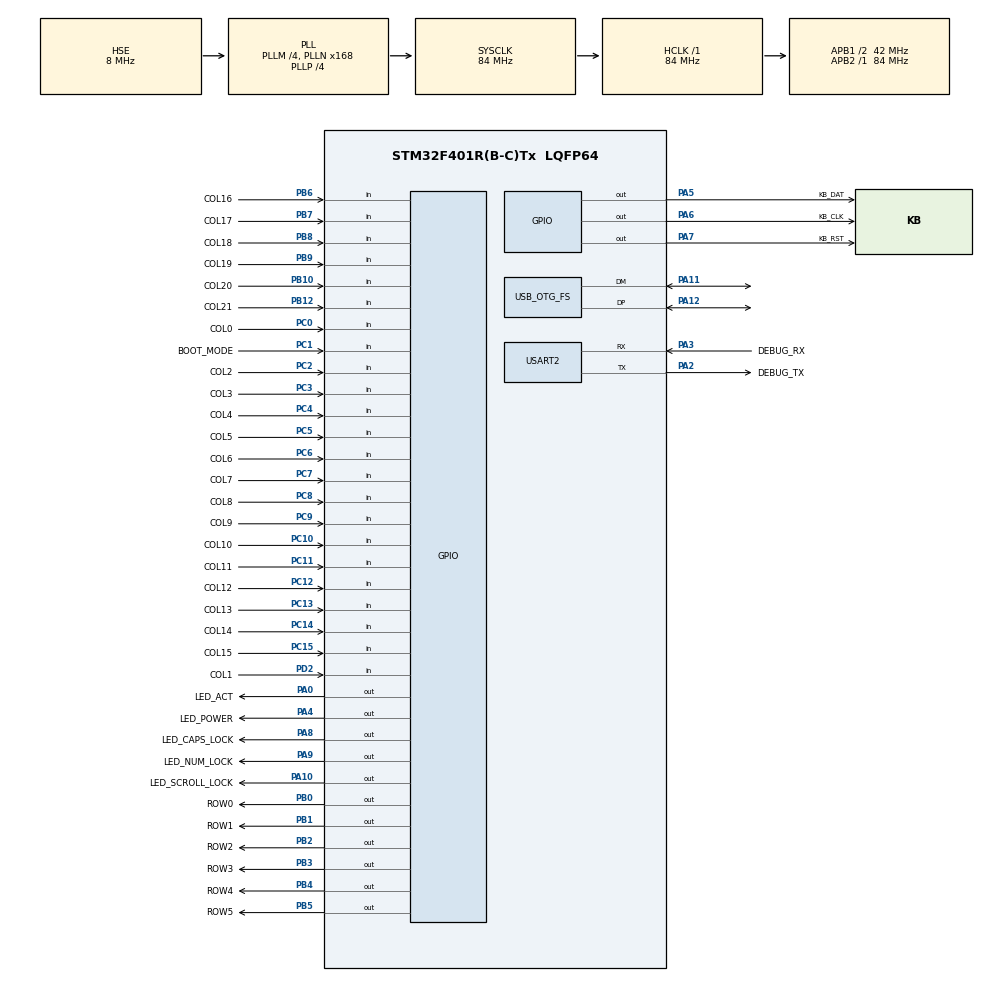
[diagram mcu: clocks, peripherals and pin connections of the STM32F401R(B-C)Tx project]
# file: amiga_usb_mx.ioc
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FREERTOS.Queues01=logQueue,16,uint16_t,0,Dynamic,NULL,NULL
FREERTOS.Tasks01=mainTask,24,128,StartMainTask,Default,NULL,Dynamic,NULL,NULL;logTask,8,128,StartLogTask,Default,NULL,Dynamic,NULL,NULL
Mcu.Family=STM32F4
Mcu.Name=STM32F401R(B-C)Tx
Mcu.Package=LQFP64
NVIC.OTG_FS_IRQn=true\:5\:0\:false\:false\:true\:true\:false\:true\:true
NVIC.PriorityGroup=NVIC_PRIORITYGROUP_4
NVIC.TIM1_UP_TIM10_IRQn=true\:15\:0\:false\:false\:true\:false\:false\:true\:true
NVIC.TimeBase=TIM1_UP_TIM10_IRQn
NVIC.TimeBaseIP=TIM1
PA0-WKUP.GPIO_Label=LED_ACT
PA0-WKUP.GPIO_ModeDefaultOutputPP=GPIO_MODE_OUTPUT_PP
PA0-WKUP.GPIO_PuPd=GPIO_PULLUP
PA0-WKUP.Signal=GPIO_Output
PA10.GPIO_Label=LED_SCROLL_LOCK
PA10.GPIO_PuPd=GPIO_PULLUP
PA10.Signal=GPIO_Output
PA11.Mode=Device_Only
PA11.Signal=USB_OTG_FS_DM
PA12.Mode=Device_Only
PA12.Signal=USB_OTG_FS_DP
PA13.Signal=SYS_JTMS-SWDIO
PA14.Signal=SYS_JTCK-SWCLK
PA2.GPIO_Label=DEBUG_TX
PA2.Mode=Asynchronous
PA2.Signal=USART2_TX
PA3.GPIO_Label=DEBUG_RX
PA3.Mode=Asynchronous
PA3.Signal=USART2_RX
PA4.GPIO_Label=LED_POWER
PA4.GPIO_PuPd=GPIO_PULLUP
PA4.Signal=GPIO_Output
PA5.GPIO_Label=KB_DAT
PA5.GPIO_PuPd=GPIO_PULLUP
PA5.Signal=GPIO_Output
PA6.GPIO_Label=KB_CLK
PA6.GPIO_PuPd=GPIO_PULLUP
PA6.Signal=GPIO_Output
PA7.GPIO_Label=KB_RST
PA7.GPIO_PuPd=GPIO_PULLUP
PA7.Signal=GPIO_Output
PA8.GPIO_Label=LED_CAPS_LOCK
PA8.GPIO_PuPd=GPIO_PULLUP
PA8.PinState=GPIO_PIN_RESET
PA8.Signal=GPIO_Output
PA9.GPIO_Label=LED_NUM_LOCK
PA9.GPIO_PuPd=GPIO_PULLUP
PA9.Signal=GPIO_Output
PB0.GPIO_Label=ROW0
PB0.Signal=GPIO_Output
PB1.GPIO_Label=ROW1
PB1.Signal=GPIO_Output
PB10.GPIO_Label=COL20
PB10.GPIO_PuPd=GPIO_PULLUP
PB10.Signal=GPIO_Input
PB12.GPIO_Label=COL21
PB12.GPIO_PuPd=GPIO_PULLUP
PB12.Signal=GPIO_Input
PB14.Signal=TIM1_CH2N
PB2.GPIO_Label=ROW2
PB2.Signal=GPIO_Output
PB3.GPIO_Label=ROW3
PB3.Signal=GPIO_Output
PB4.GPIO_Label=ROW4
PB4.Signal=GPIO_Output
PB5.GPIO_Label=ROW5
PB5.Signal=GPIO_Output
PB6.GPIO_Label=COL16
PB6.GPIO_PuPd=GPIO_PULLUP
PB6.Signal=GPIO_Input
PB7.GPIO_Label=COL17
PB7.GPIO_PuPd=GPIO_PULLUP
PB7.Signal=GPIO_Input
PB8.GPIO_Label=COL18
PB8.GPIO_PuPd=GPIO_PULLUP
PB8.Signal=GPIO_Input
PB9.GPIO_Label=COL19
PB9.GPIO_PuPd=GPIO_PULLUP
PB9.Signal=GPIO_Input
PC0.GPIO_Label=COL0
PC0.GPIO_PuPd=GPIO_PULLUP
PC0.Signal=GPIO_Input
PC1.GPIO_Label=BOOT_MODE
PC1.GPIO_PuPd=GPIO_PULLUP
PC1.Signal=GPIO_Input
PC10.GPIO_Label=COL10
PC10.GPIO_PuPd=GPIO_PULLUP
PC10.Signal=GPIO_Input
PC11.GPIO_Label=COL11
PC11.GPIO_PuPd=GPIO_PULLUP
PC11.Signal=GPIO_Input
PC12.GPIO_Label=COL12
PC12.GPIO_PuPd=GPIO_PULLUP
PC12.Signal=GPIO_Input
PC13-ANTI_TAMP.GPIO_Label=COL13
PC13-ANTI_TAMP.GPIO_PuPd=GPIO_PULLUP
PC13-ANTI_TAMP.Signal=GPIO_Input
PC14-OSC32_IN.GPIO_Label=COL14
PC14-OSC32_IN.GPIO_PuPd=GPIO_PULLUP
PC14-OSC32_IN.Signal=GPIO_Input
PC15-OSC32_OUT.GPIO_Label=COL15
PC15-OSC32_OUT.GPIO_PuPd=GPIO_PULLUP
PC15-OSC32_OUT.Signal=GPIO_Input
PC2.GPIO_Label=COL2
PC2.GPIO_PuPd=GPIO_PULLUP
PC2.Signal=GPIO_Input
PC3.GPIO_Label=COL3
PC3.GPIO_PuPd=GPIO_PULLUP
PC3.Signal=GPIO_Input
PC4.GPIO_Label=COL4
PC4.GPIO_PuPd=GPIO_PULLUP
PC4.Signal=GPIO_Input
PC5.GPIO_Label=COL5
PC5.GPIO_PuPd=GPIO_PULLUP
PC5.Signal=GPIO_Input
PC6.GPIO_Label=COL6
PC6.GPIO_PuPd=GPIO_PULLUP
PC6.Signal=GPIO_Input
PC7.GPIO_Label=COL7
PC7.GPIO_PuPd=GPIO_PULLUP
PC7.Signal=GPIO_Input
PC8.GPIO_Label=COL8
PC8.GPIO_PuPd=GPIO_PULLUP
PC8.Signal=GPIO_Input
PC9.GPIO_Label=COL9
PC9.GPIO_PuPd=GPIO_PULLUP
PC9.Signal=GPIO_Input
PD2.GPIO_Label=COL1
PD2.GPIO_PuPd=GPIO_PULLUP
PD2.Signal=GPIO_Input
PH0\ -\ OSC_IN.Mode=HSE-External-Oscillator
PH0\ -\ OSC_IN.Signal=RCC_OSC_IN
PH1\ -\ OSC_OUT.Mode=HSE-External-Oscillator
PH1\ -\ OSC_OUT.Signal=RCC_OSC_OUT
ProjectManager.HeapSize=0x200
ProjectManager.StackSize=0x400
ProjectManager.TargetToolchain=Makefile
RCC.48MHZClocksFreq_Value=48000000
RCC.AHBFreq_Value=84000000
RCC.APB1CLKDivider=RCC_HCLK_DIV2
RCC.APB1Freq_Value=42000000
RCC.APB1TimFreq_Value=84000000
RCC.APB2Freq_Value=84000000
RCC.APB2TimFreq_Value=84000000
RCC.CortexFreq_Value=84000000
RCC.HCLKFreq_Value=84000000
RCC.HSE_VALUE=8000000
RCC.HSI_VALUE=16000000
RCC.LSE_VALUE=32768
RCC.PLLM=4
RCC.PLLN=168
RCC.PLLP=RCC_PLLP_DIV4
RCC.PLLQ=7
RCC.SYSCLKFreq_VALUE=84000000
RCC.SYSCLKSource=RCC_SYSCLKSOURCE_PLLCLK
RCC.VCOOutputFreq_Value=336000000
USART2.VirtualMode=VM_ASYNC
USB_DEVICE.CLASS_NAME_FS=HID
USB_DEVICE.VirtualMode=Hid
USB_DEVICE.VirtualModeFS=Hid_FS
USB_OTG_FS.VirtualMode=Device_Only
VP_FREERTOS_VS_CMSIS_V2.Mode=CMSIS_V2
VP_SYS_VS_tim1.Mode=TIM1
VP_USB_DEVICE_VS_USB_DEVICE_HID_FS.Mode=HID_FS
board=custom

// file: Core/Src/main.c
/* USER CODE BEGIN Header */
/**
  ******************************************************************************
  * @file           : main.c
  * @brief          : Main program body
  ******************************************************************************
  * @attention
  *
  * Copyright (c) 2022 STMicroelectronics.
  * All rights reserved.
  *
  * This software is licensed under terms that can be found in the LICENSE file
  * in the root directory of this software component.
  * If no LICENSE file comes with this software, it is provided AS-IS.
  *
  ******************************************************************************
  */
/* USER CODE END Header */
#include "main.h"
#include "cmsis_os.h"
#include "usb_device.h"

/* USER CODE BEGIN Includes */
#include "usbd_hid.h"
#include "keyboard.h"
#include "ws2812.h" // Include WS2812 driver

// DWT_Delay_Init initializes the DWT_CYCCNT register for accurate delays.
__attribute__((always_inline)) static inline void DWT_Delay_Init(void)
{
    CoreDebug->DEMCR |= CoreDebug_DEMCR_TRCENA_Msk; // Enable DWT trace
    DWT->CYCCNT = 0; // Reset DWT cycle counter
    DWT->CTRL |= DWT_CTRL_CYCCNTENA_Msk; // Enable DWT cycle counter
}

// _usdelay provides a microsecond delay using the DWT cycle counter.
__attribute__((always_inline)) static inline void _usdelay(uint32_t us)
{
    // Ensure DWT is initialized once before first use.
    // This is a simple check; a more robust solution might use a flag.
    if (!(CoreDebug->DEMCR & CoreDebug_DEMCR_TRCENA_Msk)) {
        DWT_Delay_Init();
    }

    uint32_t cycles = (SystemCoreClock / 1000000U) * us;
    uint32_t start_cycles = DWT->CYCCNT;
    while((DWT->CYCCNT - start_cycles) < cycles);
}
/* USER CODE END Includes */

/* USER CODE BEGIN PD */

// Stato dei tasti
typedef enum {
    KEY_RELEASED = 0,
    KEY_PRESSED = 1
} KeyState;

// Struttura per gli eventi dei tasti da inviare via coda
typedef struct {
    uint8_t scancode;
    KeyState state;
} KeyEvent_t;

// --- Definizioni per il Report HID ---
#define KEY_MOD_LCTRL  0x01
#define KEY_MOD_LSHIFT 0x02
#define KEY_MOD_LALT   0x04
#define KEY_MOD_LGUI   0x08
#define KEY_MOD_RCTRL  0x10
#define KEY_MOD_RSHIFT 0x20
#define KEY_MOD_RALT   0x40
#define KEY_MOD_RGUI   0x80

// --- Definizioni Scancode Modificatori HID ---
#define HID_SCANCODE_MOD_LCTRL  0xE0
#define HID_SCANCODE_MOD_LSHIFT 0xE1
#define HID_SCANCODE_MOD_LALT   0xE2
#define HID_SCANCODE_MOD_LGUI   0xE3
#define HID_SCANCODE_MOD_RCTRL  0xE4
#define HID_SCANCODE_MOD_RSHIFT 0xE5
#define HID_SCANCODE_MOD_RALT   0xE6
#define HID_SCANCODE_MOD_RGUI   0xE7

typedef struct {
    uint8_t modifiers;
    uint8_t reserved;
    uint8_t keys[6];
} HID_KeyboardReport_t;

// --- Nuove Definizioni per la Gestione LED ---
typedef enum {
    LED_NUM_LOCK = 0,
    LED_CAPS_LOCK = 1,
    LED_SCROLL_LOCK = 2,
    LED_WS2812 = 3 // New type for WS2812
} LedType_t;

typedef enum {
    LED_OFF = 0,
    LED_ON = 1
} LedState_t;

// Union to handle different LED command types
typedef struct {
    LedType_t type;
    union {
        struct {
            LedType_t  led; // Re-use LedType_t for standard LEDs (Num, Caps, Scroll)
            LedState_t state;
        } std_led;
        struct {
            uint32_t rgb_color; // For WS2812 RGB color
        } ws2812_led;
    } data;
} LedMessage_t;

/* USER CODE END PD */

UART_HandleTypeDef huart2;

/* USER CODE BEGIN PV */

extern USBD_HandleTypeDef hUsbDeviceFS;

/* Logging variables */

bool isFreeRTOSStarted = false;

QueueHandle_t xLogQueue;

/* Definitions for ScannerTask */

osThreadId_t scannerTaskHandle;

const osThreadAttr_t scannerTask_attributes = {

  .name = "ScannerTask",

  .stack_size = 256 * 4,

  .priority = (osPriority_t) osPriorityNormal,

};

/* Definitions for UsbHidTask */

osThreadId_t usbHidTaskHandle;

const osThreadAttr_t usbHidTask_attributes = {

  .name = "UsbHidTask",

  .stack_size = 256 * 4,

  .priority = (osPriority_t) osPriorityAboveNormal,

};

/* Definitions for ledManagerTask */

osThreadId_t ledManagerTaskHandle;

const osThreadAttr_t ledManagerTask_attributes = {

  .name = "ledManagerTask",

  .stack_size = 128 * 4,

  .priority = (osPriority_t) osPriorityLow,

};

/* Definitions for logTask */

osThreadId_t logTaskHandle; // Correct declaration

const osThreadAttr_t logTask_attributes = {

  .name = "logTask",

  .stack_size = 256 * 4, // Adjust stack size if needed for UART operations

  .priority = (osPriority_t) osPriorityLow,

};

/* Definitions for keyEventQueue */

osMessageQueueId_t keyEventQueueHandle;

const osMessageQueueAttr_t keyEventQueue_attributes = {

  .name = "keyEventQueue"

};

/* Definitions for ledQueue */

osMessageQueueId_t ledQueueHandle;

const osMessageQueueAttr_t ledQueue_attributes = {

  .name = "ledQueue"

};

// --- Pinout della Matrice ---

GPIO_TypeDef* row_ports[MATRIX_ROWS] = {

    ROW0_GPIO_Port, ROW1_GPIO_Port, ROW2_GPIO_Port, ROW3_GPIO_Port, ROW4_GPIO_Port, ROW5_GPIO_Port

};

uint16_t row_pins[MATRIX_ROWS] = {

    ROW0_Pin, ROW1_Pin, ROW2_Pin, ROW3_Pin, ROW4_Pin, ROW5_Pin

};

GPIO_TypeDef* col_ports[MATRIX_COLS] = {

    COL0_GPIO_Port, COL1_GPIO_Port, COL2_GPIO_Port, COL3_GPIO_Port, COL4_GPIO_Port, COL5_GPIO_Port,

    COL6_GPIO_Port, COL7_GPIO_Port, COL8_GPIO_Port, COL9_GPIO_Port, COL10_GPIO_Port, COL11_GPIO_Port,

    COL12_GPIO_Port, COL13_GPIO_Port, COL14_GPIO_Port, COL15_GPIO_Port, COL16_GPIO_Port, COL17_GPIO_Port,

    COL18_GPIO_Port, COL19_GPIO_Port, COL20_GPIO_Port, COL21_GPIO_Port

};

uint16_t col_pins[MATRIX_COLS] = {

    COL0_Pin, COL1_Pin, COL2_Pin, COL3_Pin, COL4_Pin, COL5_Pin,

    COL6_Pin, COL7_Pin, COL8_Pin, COL9_Pin, COL10_Pin, COL11_Pin,

    COL12_Pin, COL13_Pin, COL14_Pin, COL15_Pin, COL16_Pin, COL17_Pin,

    COL18_Pin, COL19_Pin, COL20_Pin, COL21_Pin

};

void logTask(void *argument) {

    char received_string[LOG_MESSAGE_MAX_LEN];

    for (;;) {

        // Wait indefinitely for a log message to arrive

        if (xQueueReceive(xLogQueue, received_string, portMAX_DELAY) == pdPASS) {

            // Transmit the received log message over UART2

            HAL_UART_Transmit(&huart2, (uint8_t *)received_string, strlen(received_string), HAL_MAX_DELAY);

        }

    }

}

/* USER CODE END PV */

void SystemClock_Config(void);
static void MX_GPIO_Init(void);
static void MX_USART2_UART_Init(void);
void ScannerTask(void *argument);
void UsbHidTask(void *argument);
void ledManager(void *argument);
void USBD_HID_SetReport_Callback(uint8_t *report, uint16_t len);

/* USER CODE BEGIN PFP */
void logTask(void *argument);
/* USER CODE END PFP */

int main(void)
{

  /* MCU Configuration--------------------------------------------------------*/

  /* Reset of all peripherals, Initializes the Flash interface and the Systick. */
  HAL_Init();

  /* Configure the system clock */
  SystemClock_Config();

  /* Initialize all configured peripherals */
  MX_GPIO_Init();
  MX_USART2_UART_Init();
  MX_USB_DEVICE_Init();
  /* USER CODE BEGIN 2 */
  WS2812_Init(); // Initialize WS2812 LEDs
  // Simple test pattern for WS2812 using led_rgb function
  led_rgb(0xFF0000); // LED 0 Red
  HAL_Delay(1000); // Wait 1 second
  led_rgb(0x00FF00); // LED 0 Green
  HAL_Delay(1000);
  led_rgb(0x0000FF); // LED 0 Blue
  HAL_Delay(1000);
  led_rgb(0x000000); // LED 0 Off
  HAL_Delay(500);

  // Example using the requested led_rgb function
  led_rgb(0xFF00FF); // Magenta for LED 0
  HAL_Delay(1000);
  led_rgb(0x000000); // Off
  HAL_Delay(500);
  /* USER CODE END 2 */

  /* Init scheduler */
  osKernelInitialize();

  /* Create the queue(s) */
  keyEventQueueHandle = osMessageQueueNew (16, sizeof(KeyEvent_t), &keyEventQueue_attributes);
  ledQueueHandle = osMessageQueueNew(4, sizeof(LedMessage_t), &ledQueue_attributes);
  xLogQueue = xQueueCreate(LOG_QUEUE_LENGTH, LOG_MESSAGE_MAX_LEN); // Create log queue

  /* Create the thread(s) */
  scannerTaskHandle = osThreadNew(ScannerTask, NULL, &scannerTask_attributes);
  usbHidTaskHandle = osThreadNew(UsbHidTask, NULL, &usbHidTask_attributes);
  ledManagerTaskHandle = osThreadNew(ledManager, NULL, &ledManagerTask_attributes);
  logTaskHandle = osThreadNew(logTask, NULL, &logTask_attributes); // Create log task

  // Set FreeRTOS started flag
  isFreeRTOSStarted = true;

  /* Start scheduler */
  osKernelStart();

  /* We should never get here as control is now taken by the scheduler */
  /* Infinite loop */
  while (1)
  {

  }
}

void SystemClock_Config(void)
{
  RCC_OscInitTypeDef RCC_OscInitStruct = {0};
  RCC_ClkInitTypeDef RCC_ClkInitStruct = {0};

  /** Configure the main internal regulator output voltage
  */
  __HAL_RCC_PWR_CLK_ENABLE();
  __HAL_PWR_VOLTAGESCALING_CONFIG(PWR_REGULATOR_VOLTAGE_SCALE2);

  /** Initializes the RCC Oscillators according to the specified parameters
  * in the RCC_OscInitTypeDef structure.
  */
  RCC_OscInitStruct.OscillatorType = RCC_OSCILLATORTYPE_HSE;
  RCC_OscInitStruct.HSEState = RCC_HSE_ON;
  RCC_OscInitStruct.PLL.PLLState = RCC_PLL_ON;
  RCC_OscInitStruct.PLL.PLLSource = RCC_PLLSOURCE_HSE;
  RCC_OscInitStruct.PLL.PLLM = 4;
  RCC_OscInitStruct.PLL.PLLN = 168;
  RCC_OscInitStruct.PLL.PLLP = RCC_PLLP_DIV4;
  RCC_OscInitStruct.PLL.PLLQ = 7;
  if (HAL_RCC_OscConfig(&RCC_OscInitStruct) != HAL_OK)
  {
    Error_Handler();
  }

  /** Initializes the CPU, AHB and APB buses clocks
  */
  RCC_ClkInitStruct.ClockType = RCC_CLOCKTYPE_HCLK|RCC_CLOCKTYPE_SYSCLK
                              |RCC_CLOCKTYPE_PCLK1|RCC_CLOCKTYPE_PCLK2;
  RCC_ClkInitStruct.SYSCLKSource = RCC_SYSCLKSOURCE_PLLCLK;
  RCC_ClkInitStruct.AHBCLKDivider = RCC_SYSCLK_DIV1;
  RCC_ClkInitStruct.APB1CLKDivider = RCC_HCLK_DIV2;
  RCC_ClkInitStruct.APB2CLKDivider = RCC_HCLK_DIV1;

  if (HAL_RCC_ClockConfig(&RCC_ClkInitStruct, FLASH_LATENCY_2) != HAL_OK)
  {
    Error_Handler();
  }
}

static void MX_USART2_UART_Init(void)
{
  huart2.Instance = USART2;
  huart2.Init.BaudRate = 115200;
  huart2.Init.WordLength = UART_WORDLENGTH_8B;
  huart2.Init.StopBits = UART_STOPBITS_1;
  huart2.Init.Parity = UART_PARITY_NONE;
  huart2.Init.Mode = UART_MODE_TX_RX;
  huart2.Init.HwFlowCtl = UART_HWCONTROL_NONE;
  huart2.Init.OverSampling = UART_OVERSAMPLING_16;
  if (HAL_UART_Init(&huart2) != HAL_OK)
  {
    Error_Handler();
  }
}

static void MX_GPIO_Init(void)
{
  GPIO_InitTypeDef GPIO_InitStruct = {0};

  /* GPIO Ports Clock Enable */
  __HAL_RCC_GPIOC_CLK_ENABLE();
  __HAL_RCC_GPIOH_CLK_ENABLE();
  __HAL_RCC_GPIOA_CLK_ENABLE();
  __HAL_RCC_GPIOB_CLK_ENABLE();
  __HAL_RCC_GPIOD_CLK_ENABLE();

  /*Configure GPIO pin Output Level */
  HAL_GPIO_WritePin(GPIOA, LED_ACT_Pin|LED_POWER_Pin|KB_DAT_Pin|KB_CLK_Pin
                          |KB_RST_Pin|LED_CAPS_LOCK_Pin|LED_NUM_LOCK_Pin|LED_SCROLL_LOCK_Pin, GPIO_PIN_RESET);

  /*Configure GPIO pin Output Level */
  HAL_GPIO_WritePin(GPIOB, ROW0_Pin|ROW1_Pin|ROW2_Pin|ROW3_Pin
                          |ROW4_Pin|ROW5_Pin, GPIO_PIN_SET); // Set rows high by default

  /*Configure GPIO pins : COL13_Pin COL14_Pin COL15_Pin COL0_Pin
                           BOOT_MODE_Pin COL2_Pin COL3_Pin COL4_Pin
                           COL5_Pin COL6_Pin COL7_Pin COL8_Pin
                           COL9_Pin COL10_Pin COL11_Pin COL12_Pin */
  GPIO_InitStruct.Pin = COL13_Pin|COL14_Pin|COL15_Pin|COL0_Pin
                          |BOOT_MODE_Pin|COL2_Pin|COL3_Pin|COL4_Pin
                          |COL5_Pin|COL6_Pin|COL7_Pin|COL8_Pin
                          |COL9_Pin|COL10_Pin|COL11_Pin|COL12_Pin;
  GPIO_InitStruct.Mode = GPIO_MODE_INPUT;
  GPIO_InitStruct.Pull = GPIO_PULLUP;
  HAL_GPIO_Init(GPIOC, &GPIO_InitStruct);

  /*Configure GPIO pins : LED_ACT_Pin LED_POWER_Pin KB_DAT_Pin KB_CLK_Pin
                           KB_RST_Pin LED_CAPS_LOCK_Pin LED_NUM_LOCK_Pin LED_SCROLL_LOCK_Pin */
  GPIO_InitStruct.Pin = LED_ACT_Pin|LED_POWER_Pin|KB_DAT_Pin|KB_CLK_Pin
                          |KB_RST_Pin|LED_CAPS_LOCK_Pin|LED_NUM_LOCK_Pin|LED_SCROLL_LOCK_Pin;
  GPIO_InitStruct.Mode = GPIO_MODE_OUTPUT_PP;
  GPIO_InitStruct.Pull = GPIO_NOPULL;
  GPIO_InitStruct.Speed = GPIO_SPEED_FREQ_LOW;
  HAL_GPIO_Init(GPIOA, &GPIO_InitStruct);

  /*Configure GPIO pins : ROW0_Pin ROW1_Pin ROW2_Pin ROW3_Pin
                           ROW4_Pin ROW5_Pin */
  GPIO_InitStruct.Pin = ROW0_Pin|ROW1_Pin|ROW2_Pin|ROW3_Pin
                          |ROW4_Pin|ROW5_Pin;
  GPIO_InitStruct.Mode = GPIO_MODE_OUTPUT_PP;
  GPIO_InitStruct.Pull = GPIO_NOPULL;
  GPIO_InitStruct.Speed = GPIO_SPEED_FREQ_HIGH; // High speed for faster scanning
  HAL_GPIO_Init(GPIOB, &GPIO_InitStruct);

  /*Configure GPIO pins : COL20_Pin COL21_Pin COL16_Pin COL17_Pin
                           COL18_Pin COL19_Pin */
  GPIO_InitStruct.Pin = COL20_Pin|COL21_Pin|COL16_Pin|COL17_Pin
                          |COL18_Pin|COL19_Pin;
  GPIO_InitStruct.Mode = GPIO_MODE_INPUT;
  GPIO_InitStruct.Pull = GPIO_PULLUP;
  HAL_GPIO_Init(GPIOB, &GPIO_InitStruct);

  /*Configure GPIO pin : PB14 */
  GPIO_InitStruct.Pin = GPIO_PIN_14;
  GPIO_InitStruct.Mode = GPIO_MODE_AF_PP;
  GPIO_InitStruct.Pull = GPIO_NOPULL;
  GPIO_InitStruct.Speed = GPIO_SPEED_FREQ_LOW;
  GPIO_InitStruct.Alternate = GPIO_AF1_TIM1;
  HAL_GPIO_Init(GPIOB, &GPIO_InitStruct);

  /*Configure GPIO pin : COL1_Pin */
  GPIO_InitStruct.Pin = COL1_Pin;
  GPIO_InitStruct.Mode = GPIO_MODE_INPUT;
  GPIO_InitStruct.Pull = GPIO_PULLUP;
  HAL_GPIO_Init(COL1_GPIO_Port, &GPIO_InitStruct);

}

/* USER CODE BEGIN 4 */

void led_rgb(uint32_t RGB) {
    LedMessage_t msg;
    msg.type = LED_WS2812;
    msg.data.ws2812_led.rgb_color = RGB;
    osMessageQueuePut(ledQueueHandle, &msg, 0U, 0U); // Send to queue without blocking
}
void ScannerTask(void *argument) {
    DEBUG_PRINT(1, SCANNER_TASK_DEBUG_LEVEL, "ScannerTask: Entered.\r\n");
    KeyState matrix_state[MATRIX_ROWS][MATRIX_COLS] = {0};
    KeyState matrix_state_prev[MATRIX_ROWS][MATRIX_COLS] = {0};

    uint32_t last_scan_time = osKernelGetTickCount();

    for (;;) {
        // Scansiona la matrice
        for (int r = 0; r < MATRIX_ROWS; r++) {
            HAL_GPIO_WritePin(row_ports[r], row_pins[r], GPIO_PIN_RESET);
            _usdelay(1); // Delay ~1us
            for (int c = 0; c < MATRIX_COLS; c++) {
                if (HAL_GPIO_ReadPin(col_ports[c], col_pins[c]) == GPIO_PIN_RESET) {
                    matrix_state[r][c] = KEY_PRESSED;
                } else {
                    matrix_state[r][c] = KEY_RELEASED;
                }
            }
            HAL_GPIO_WritePin(row_ports[r], row_pins[r], GPIO_PIN_SET);
        }

        // Debouncing e rilevamento cambiamenti
        for (int r = 0; r < MATRIX_ROWS; r++) {
            for (int c = 0; c < MATRIX_COLS; c++) {
                if (matrix_state[r][c] != matrix_state_prev[r][c]) {
                    osDelay(20);
                    HAL_GPIO_WritePin(row_ports[r], row_pins[r], GPIO_PIN_RESET);
                    _usdelay(1); // Delay
                    KeyState confirmed_state = (HAL_GPIO_ReadPin(col_ports[c], col_pins[c]) == GPIO_PIN_RESET) ? KEY_PRESSED : KEY_RELEASED;
                    HAL_GPIO_WritePin(row_ports[r], row_pins[r], GPIO_PIN_SET);

                    if (confirmed_state == matrix_state[r][c]) {
                        matrix_state_prev[r][c] = matrix_state[r][c];
                        if (scancode_lut[r][c] != 0x00) {
                            KeyEvent_t event = { .scancode = scancode_lut[r][c], .state = matrix_state[r][c] };
                            osMessageQueuePut(keyEventQueueHandle, &event, 0U, osWaitForever);
                            DEBUG_PRINT(1, SCANNER_TASK_DEBUG_LEVEL, "ScannerTask: Key R%d C%d (0x%02X) %s\r\n", r, c, event.scancode, (event.state == KEY_PRESSED ? "PRESSED" : "RELEASED"));
                        }
                    }
                }
            }
        }
        last_scan_time += 5;
        osDelay(last_scan_time - osKernelGetTickCount());
        DEBUG_PRINT(2, SCANNER_TASK_DEBUG_LEVEL, "ScannerTask: Scanning loop iteration.\r\n");
    }
}

void UsbHidTask(void *argument) {
    DEBUG_PRINT(1, USBHID_TASK_DEBUG_LEVEL, "UsbHidTask: Entered.\r\n");
    KeyEvent_t received_event;
    HID_KeyboardReport_t hid_report = {0};

    for (;;) {
        osStatus_t status = osMessageQueueGet(keyEventQueueHandle, &received_event, NULL, osWaitForever);
        if (status == osOK) {
            DEBUG_PRINT(2, USBHID_TASK_DEBUG_LEVEL, "UsbHidTask: Received event scancode=0x%02X, state=%s\r\n", received_event.scancode, (received_event.state == KEY_PRESSED ? "PRESSED" : "RELEASED"));
            uint8_t scancode = received_event.scancode;
            if (scancode >= HID_SCANCODE_MOD_LCTRL && scancode <= HID_SCANCODE_MOD_RGUI) {
                if (received_event.state == KEY_PRESSED) {
                    hid_report.modifiers |= (1 << (scancode - HID_SCANCODE_MOD_LCTRL));
                    DEBUG_PRINT(2, USBHID_TASK_DEBUG_LEVEL, "UsbHidTask: Modifier 0x%02X PRESSED, new modifiers=0x%02X\r\n", scancode, hid_report.modifiers);
                } else {
                    hid_report.modifiers &= ~(1 << (scancode - HID_SCANCODE_MOD_LCTRL));
                    DEBUG_PRINT(2, USBHID_TASK_DEBUG_LEVEL, "UsbHidTask: Modifier 0x%02X RELEASED, new modifiers=0x%02X\r\n", scancode, hid_report.modifiers);
                }
            } else {
                if (received_event.state == KEY_PRESSED) {
                    for (int i = 0; i < 6; i++) {
                        if (hid_report.keys[i] == 0x00) {
                            hid_report.keys[i] = scancode;
                            DEBUG_PRINT(2, USBHID_TASK_DEBUG_LEVEL, "UsbHidTask: Key 0x%02X PRESSED, slot %d\r\n", scancode, i);
                            break;
                        }
                    }
                } else {
                    for (int i = 0; i < 6; i++) {
                        if (hid_report.keys[i] == scancode) {
                            hid_report.keys[i] = 0x00;
                            DEBUG_PRINT(2, USBHID_TASK_DEBUG_LEVEL, "UsbHidTask: Key 0x%02X RELEASED, slot %d\r\n", scancode, i);
                        }
                    }
                }
            }
            USBD_HID_SendReport(&hUsbDeviceFS, (uint8_t*)&hid_report, sizeof(hid_report));
            DEBUG_PRINT(1, USBHID_TASK_DEBUG_LEVEL, "UsbHidTask: Sent HID report. Modifiers=0x%02X, Keys={0x%02X, 0x%02X, ..., 0x%02X}\r\n", hid_report.modifiers, hid_report.keys[0], hid_report.keys[1], hid_report.keys[5]);
            // Send empty report on key release to be safe
            if(received_event.state == KEY_RELEASED) {
				osDelay(10); // Debounce release
				// Compact the key array
				uint8_t write_idx = 0;
				for(uint8_t read_idx = 0; read_idx < 6; read_idx++) {
					if(hid_report.keys[read_idx] != 0x00) {
						hid_report.keys[write_idx++] = hid_report.keys[read_idx];
					}
				}
				for(uint8_t i = write_idx; i < 6; i++) {
					hid_report.keys[i] = 0x00;
				}
				USBD_HID_SendReport(&hUsbDeviceFS, (uint8_t*)&hid_report, sizeof(hid_report));
				DEBUG_PRINT(1, USBHID_TASK_DEBUG_LEVEL, "UsbHidTask: Sent empty HID report after release. Modifiers=0x%02X, Keys={0x%02X, ..., 0x%02X}\r\n", hid_report.modifiers, hid_report.keys[0], hid_report.keys[5]);
			}
        }
    }
}

void ledManager(void *argument) {
    DEBUG_PRINT(1, LEDMANAGER_TASK_DEBUG_LEVEL, "ledManager: Entered.\r\n");
    LedMessage_t msg; // Changed from LedCommand_t
    for (;;) {
        osStatus_t status = osMessageQueueGet(ledQueueHandle, &msg, NULL, osWaitForever);
        if (status == osOK) {
            if (msg.type == LED_WS2812) {
                // Handle WS2812 LED
                uint8_t r = (msg.data.ws2812_led.rgb_color >> 16) & 0xFF;
                uint8_t g = (msg.data.ws2812_led.rgb_color >> 8) & 0xFF;
                uint8_t b = msg.data.ws2812_led.rgb_color & 0xFF;
                WS2812_SetRGB(0, r, g, b); // Always LED 0 as per user's clarification
                WS2812_Show();
                DEBUG_PRINT(1, LEDMANAGER_TASK_DEBUG_LEVEL, "ledManager: WS2812 LED set to RGB: 0x%06lX\r\n", msg.data.ws2812_led.rgb_color);
            } else {
                // Handle standard LEDs (Num, Caps, Scroll Lock)
                DEBUG_PRINT(2, LEDMANAGER_TASK_DEBUG_LEVEL, "ledManager: Received command for LED %d, state %d\r\n", msg.data.std_led.led, msg.data.std_led.state);
                GPIO_PinState pin_state = (msg.data.std_led.state == LED_ON) ? GPIO_PIN_SET : GPIO_PIN_RESET;
                switch (msg.data.std_led.led) {
                    case LED_NUM_LOCK:
                        HAL_GPIO_WritePin(LED_NUM_LOCK_GPIO_Port, LED_NUM_LOCK_Pin, pin_state);
                        DEBUG_PRINT(1, LEDMANAGER_TASK_DEBUG_LEVEL, "ledManager: Num Lock LED set to %s\r\n", (msg.data.std_led.state == LED_ON ? "ON" : "OFF"));
                        break;
                    case LED_CAPS_LOCK:
                        HAL_GPIO_WritePin(LED_CAPS_LOCK_GPIO_Port, LED_CAPS_LOCK_Pin, pin_state);
                        DEBUG_PRINT(1, LEDMANAGER_TASK_DEBUG_LEVEL, "ledManager: Caps Lock LED set to %s\r\n", (msg.data.std_led.state == LED_ON ? "ON" : "OFF"));
                        break;
                    case LED_SCROLL_LOCK:
                        HAL_GPIO_WritePin(LED_SCROLL_LOCK_GPIO_Port, LED_SCROLL_LOCK_Pin, pin_state);
                        DEBUG_PRINT(1, LEDMANAGER_TASK_DEBUG_LEVEL, "ledManager: Scroll Lock LED set to %s\r\n", (msg.data.std_led.state == LED_ON ? "ON" : "OFF"));
                        break;
                    case LED_WS2812: // Handle this case explicitly to clear warning
                        // Do nothing, as WS2812 is handled by msg.type check
                        break;
                }
            }
        }
    }
}

void USBD_HID_SetReport_Callback(uint8_t *report, uint16_t len) {
    if (len > 0) {
        uint8_t led_status = report[0];
        static uint8_t last_led_status = 0;
        DEBUG_PRINT(1, LEDMANAGER_TASK_DEBUG_LEVEL, "USBD_HID_SetReport_Callback: Received LED status: 0x%02X\r\n", led_status);
        if (((last_led_status ^ led_status) >> 0) & 1) { // Num Lock
            LedMessage_t msg = { .type = LED_NUM_LOCK, .data.std_led.led = LED_NUM_LOCK, .data.std_led.state = (led_status & 1) ? LED_ON : LED_OFF };
            osMessageQueuePut(ledQueueHandle, &msg, 0U, 0U);
        }
        if (((last_led_status ^ led_status) >> 1) & 1) { // Caps Lock
            LedMessage_t msg = { .type = LED_CAPS_LOCK, .data.std_led.led = LED_CAPS_LOCK, .data.std_led.state = (led_status & 2) ? LED_ON : LED_OFF };
            osMessageQueuePut(ledQueueHandle, &msg, 0U, 0U);
        }
        if (((last_led_status ^ led_status) >> 2) & 1) { // Scroll Lock
            LedMessage_t msg = { .type = LED_SCROLL_LOCK, .data.std_led.led = LED_SCROLL_LOCK, .data.std_led.state = (led_status & 4) ? LED_ON : LED_OFF };
            osMessageQueuePut(ledQueueHandle, &msg, 0U, 0U);
        }
        last_led_status = led_status;
    }
}
/* USER CODE END 4 */

void StartMainTask(void *argument)
{
  for(;;)
  {
    osDelay(1);
  }
}

void HAL_TIM_PeriodElapsedCallback(TIM_HandleTypeDef *htim)
{
  if (htim->Instance == TIM1)
  {
    HAL_IncTick();
  }
}

void Error_Handler(void)
{
  __disable_irq();
  while (1)
  {
  }
}
